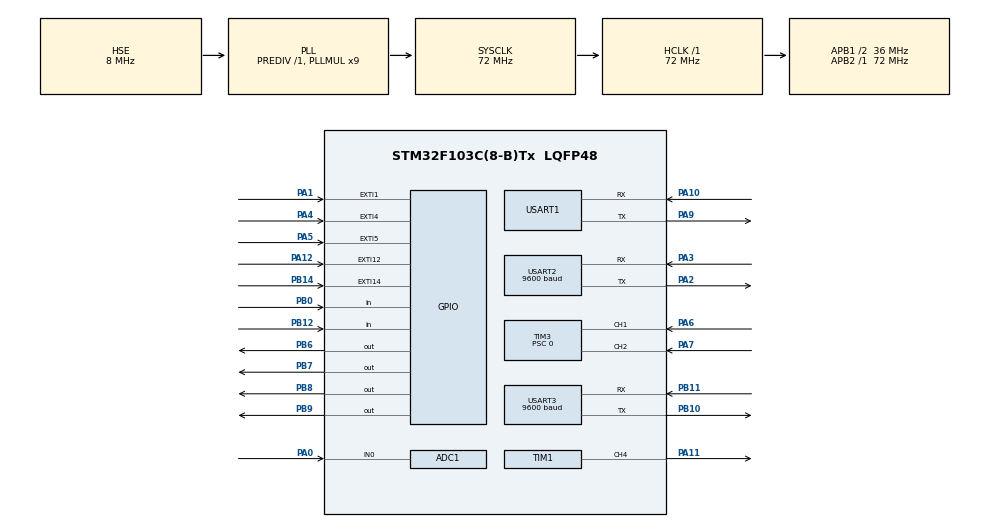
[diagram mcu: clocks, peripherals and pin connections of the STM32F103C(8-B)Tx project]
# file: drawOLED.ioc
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ADC1.Channel-0\#ChannelRegularConversion=ADC_CHANNEL_0
ADC1.NbrOfConversionFlag=1
ADC1.Rank-0\#ChannelRegularConversion=1
ADC1.SamplingTime-0\#ChannelRegularConversion=ADC_SAMPLETIME_1CYCLE_5
ADC1.master=1
FREERTOS.INCLUDE_xTaskAbortDelay=0
FREERTOS.INCLUDE_xTaskGetHandle=0
FREERTOS.Tasks01=OLED_Draw,-1,128,DrawPic,Default,NULL,Dynamic,NULL,NULL;KeyTask,-1,128,Key,Default,NULL,Dynamic,NULL,NULL;AOLED_Draw,-1,128,ADraw_Pic,Default,NULL,Dynamic,NULL,NULL;AKeyTask,-1,128,AKey,Default,NULL,Dynamic,NULL,NULL;JudgeWin,2,128,Judgewhowin,Default,NULL,Dynamic,NULL,NULL;BuzzerPlay,-3,128,Playmusic,Default,NULL,Dynamic,NULL,NULL;WakeUp,1,128,GetwakeupFlag,Default,NULL,Dynamic,NULL,NULL
FREERTOS.configTICK_RATE_HZ=1000
FREERTOS.configTOTAL_HEAP_SIZE=6240
Mcu.Family=STM32F1
Mcu.Name=STM32F103C(8-B)Tx
Mcu.Package=LQFP48
NVIC.EXTI15_10_IRQn=true\:5\:0\:false\:false\:true\:true\:true\:true\:true
NVIC.EXTI1_IRQn=true\:5\:0\:false\:false\:true\:true\:true\:true\:true
NVIC.EXTI4_IRQn=true\:5\:0\:false\:false\:true\:true\:true\:true\:true
NVIC.EXTI9_5_IRQn=true\:5\:0\:false\:false\:true\:true\:true\:true\:true
NVIC.PriorityGroup=NVIC_PRIORITYGROUP_4
NVIC.TIM4_IRQn=true\:15\:0\:false\:false\:true\:false\:false\:true\:true
NVIC.TimeBase=TIM4_IRQn
NVIC.TimeBaseIP=TIM4
PA0-WKUP.Signal=ADCx_IN0
PA1.GPIO_ModeDefaultEXTI=GPIO_MODE_IT_FALLING
PA1.GPIO_PuPd=GPIO_PULLUP
PA1.Signal=GPXTI1
PA10.Mode=Asynchronous
PA10.Signal=USART1_RX
PA11.Signal=S_TIM1_CH4
PA12.GPIO_ModeDefaultEXTI=GPIO_MODE_IT_FALLING
PA12.GPIO_PuPd=GPIO_PULLUP
PA12.Signal=GPXTI12
PA13.Mode=Serial_Wire
PA13.Signal=SYS_JTMS-SWDIO
PA14.Mode=Serial_Wire
PA14.Signal=SYS_JTCK-SWCLK
PA2.Mode=Asynchronous
PA2.Signal=USART2_TX
PA3.Mode=Asynchronous
PA3.Signal=USART2_RX
PA4.GPIO_ModeDefaultEXTI=GPIO_MODE_IT_FALLING
PA4.GPIO_PuPd=GPIO_PULLUP
PA4.Signal=GPXTI4
PA5.GPIO_ModeDefaultEXTI=GPIO_MODE_IT_FALLING
PA5.GPIO_PuPd=GPIO_PULLUP
PA5.Signal=GPXTI5
PA6.Signal=S_TIM3_CH1
PA7.Signal=S_TIM3_CH2
PA9.Mode=Asynchronous
PA9.Signal=USART1_TX
PB0.GPIO_PuPd=GPIO_PULLUP
PB0.Signal=GPIO_Input
PB10.Mode=Asynchronous
PB10.Signal=USART3_TX
PB11.Mode=Asynchronous
PB11.Signal=USART3_RX
PB12.GPIO_PuPd=GPIO_PULLDOWN
PB12.Signal=GPIO_Input
PB14.GPIO_ModeDefaultEXTI=GPIO_MODE_IT_FALLING
PB14.GPIO_PuPd=GPIO_PULLUP
PB14.Signal=GPXTI14
PB6.GPIO_ModeDefaultOutputPP=GPIO_MODE_OUTPUT_OD
PB6.GPIO_PuPd=GPIO_NOPULL
PB6.PinState=GPIO_PIN_SET
PB6.Signal=GPIO_Output
PB7.GPIO_ModeDefaultOutputPP=GPIO_MODE_OUTPUT_OD
PB7.GPIO_PuPd=GPIO_NOPULL
PB7.PinState=GPIO_PIN_SET
PB7.Signal=GPIO_Output
PB8.GPIO_ModeDefaultOutputPP=GPIO_MODE_OUTPUT_OD
PB8.GPIO_PuPd=GPIO_NOPULL
PB8.PinState=GPIO_PIN_SET
PB8.Signal=GPIO_Output
PB9.GPIO_ModeDefaultOutputPP=GPIO_MODE_OUTPUT_OD
PB9.GPIO_PuPd=GPIO_NOPULL
PB9.PinState=GPIO_PIN_SET
PB9.Signal=GPIO_Output
PD0-OSC_IN.Mode=HSE-External-Oscillator
PD0-OSC_IN.Signal=RCC_OSC_IN
PD1-OSC_OUT.Mode=HSE-External-Oscillator
PD1-OSC_OUT.Signal=RCC_OSC_OUT
ProjectManager.HeapSize=0x200
ProjectManager.StackSize=0x400
ProjectManager.TargetToolchain=MDK-ARM V5.32
RCC.ADCPresc=RCC_ADCPCLK2_DIV6
RCC.AHBFreq_Value=72000000
RCC.APB1CLKDivider=RCC_HCLK_DIV2
RCC.APB1Freq_Value=36000000
RCC.APB1TimFreq_Value=72000000
RCC.APB2Freq_Value=72000000
RCC.APB2TimFreq_Value=72000000
RCC.HCLKFreq_Value=72000000
RCC.PLLMUL=RCC_PLL_MUL9
RCC.PLLSourceVirtual=RCC_PLLSOURCE_HSE
RCC.SYSCLKFreq_VALUE=72000000
RCC.SYSCLKSource=RCC_SYSCLKSOURCE_PLLCLK
RCC.USBFreq_Value=72000000
SH.ADCx_IN0.0=ADC1_IN0,IN0
SH.S_TIM1_CH4.0=TIM1_CH4,PWM Generation4 CH4
SH.S_TIM3_CH1.0=TIM3_CH1,Encoder_Interface
SH.S_TIM3_CH2.0=TIM3_CH2,Encoder_Interface
TIM1.AutoReloadPreload=TIM_AUTORELOAD_PRELOAD_ENABLE
TIM1.Channel-PWM\ Generation4\ CH4=TIM_CHANNEL_4
TIM1.Period=999
TIM1.Prescaler=71
TIM3.EncoderMode=TIM_ENCODERMODE_TI12
TIM3.Period=65535
TIM3.Prescaler=0
USART1.VirtualMode=VM_ASYNC
USART2.BaudRate=9600
USART2.VirtualMode=VM_ASYNC
USART3.BaudRate=9600
USART3.VirtualMode=VM_ASYNC
VP_FREERTOS_VS_CMSIS_V1.Mode=CMSIS_V1
VP_SYS_VS_tim4.Mode=TIM4
board=custom

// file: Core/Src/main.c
/* USER CODE BEGIN Header */
/**
  ******************************************************************************
  * @file           : main.c
  * @brief          : Main program body
  ******************************************************************************
  * @attention
  *
  * Copyright (c) 2025 STMicroelectronics.
  * All rights reserved.
  *
  * This software is licensed under terms that can be found in the LICENSE file
  * in the root directory of this software component.
  * If no LICENSE file comes with this software, it is provided AS-IS.
  *
  ******************************************************************************
  */
/* USER CODE END Header */
#include "main.h"
#include "cmsis_os.h"
#include "adc.h"
#include "tim.h"
#include "usart.h"
#include "gpio.h"

/* USER CODE BEGIN Includes */
#include "OLED.h"
#include "AOLED.h"
#include "winrecord.h"
#include "OLED_Data.h"
#include "String.h"
/* USER CODE END Includes */

/* USER CODE BEGIN PV */
//uint8_t RX_Buffer[4] = {0};
uint32_t Nowwakeup_Time = 0;
uint32_t Lastwakeup_Time = 0;
uint8_t Player1[32] = {0};
uint8_t Player2[32] = {0};
uint8_t ChoseDoneFlag = 0;
uint8_t AChoseDoneFlag = 0;
uint8_t Tempbuffer[4] = {0};
uint8_t ATempbuffer[4] = {0};
/* USER CODE END PV */

void SystemClock_Config(void);
void MX_FREERTOS_Init(void);

int main(void)
{

  /* MCU Configuration--------------------------------------------------------*/

  /* Reset of all peripherals, Initializes the Flash interface and the Systick. */
  HAL_Init();

  /* Configure the system clock */
  SystemClock_Config();

  /* Initialize all configured peripherals */
  MX_GPIO_Init();
  MX_TIM1_Init();
  MX_USART1_UART_Init();
  MX_ADC1_Init();
  MX_USART3_UART_Init();
  MX_USART2_UART_Init();
  MX_TIM3_Init();
  /* USER CODE BEGIN 2 */
	HAL_NVIC_SetPriority(EXTI1_IRQn, 5, 0);
  HAL_NVIC_EnableIRQ(EXTI1_IRQn);
  HAL_NVIC_SetPriority(EXTI2_IRQn, 5, 0);
  HAL_NVIC_EnableIRQ(EXTI2_IRQn);
  HAL_NVIC_SetPriority(EXTI4_IRQn, 5, 0);
  HAL_NVIC_EnableIRQ(EXTI4_IRQn);
	HAL_NVIC_EnableIRQ(EXTI9_5_IRQn);
	HAL_NVIC_EnableIRQ(EXTI15_10_IRQn);

	OLED_Init();
	AOLED_Init();
	HAL_TIM_PWM_Start(&htim1,TIM_CHANNEL_4);
	HAL_TIM_Encoder_Start(&htim3, TIM_CHANNEL_ALL);
//	HAL_UART_IRQHandler(&huart3);
//	HAL_UART_Receive_IT(&huart3 , RX_Buffer , sizeof(RX_Buffer));
	WinRecord currentRecord;
  LoadWinRecord(&currentRecord);
	if (currentRecord.player1Wins == 0xFFFF || currentRecord.player2Wins == 0xFFFF) {
        currentRecord.player1Wins = 0;
				currentRecord.player2Wins = 0;
        SaveWinRecord(&currentRecord); // �״α���Ĭ��ֵ
    }
	while(!ChoseDoneFlag)
	{
		OLED_Printf(10, 20, OLED_6X8, "P1 choose roles");
		AOLED_Printf(10, 20, AOLED_6X8, "P1 choose roles");
		OLED_Update();
		AOLED_Update();
		HAL_UART_Receive(&huart3 , Tempbuffer, sizeof(Tempbuffer), HAL_MAX_DELAY);
		if(Tempbuffer[0] == 0x20 && Tempbuffer[3] == 0x61 )
		{
			if(Tempbuffer[1] == 0x01 && Tempbuffer[2] == 0x02)
			{
				memcpy(Player1, people1, 32);
				ChoseDoneFlag = 1;
				HAL_UART_Transmit(&huart3, Tempbuffer, sizeof(Tempbuffer), 100);
			}
			else if(Tempbuffer[1] == 0x01 && Tempbuffer[2] == 0x03)
			{
				memcpy(Player1, people2, 32);
				ChoseDoneFlag = 1;
				HAL_UART_Transmit(&huart3, Tempbuffer, sizeof(Tempbuffer), 100);
			}

		}
	}
	while(!AChoseDoneFlag)
	{
		OLED_Printf(10, 20, OLED_6X8, "P2 choose roles");
		AOLED_Printf(10, 20, AOLED_6X8, "P2 to choose roles");
		OLED_Update();
		AOLED_Update();
		HAL_UART_Receive(&huart2 , ATempbuffer, sizeof(ATempbuffer), HAL_MAX_DELAY);
		if(ATempbuffer[0] == 0x20 && ATempbuffer[3] == 0x61 )
		{
			if(ATempbuffer[1] == 0x02 && ATempbuffer[2] == 0x02)
			{
				memcpy(Player2, people1, 32);
				AChoseDoneFlag = 1;
				HAL_UART_Transmit(&huart2, ATempbuffer, sizeof(ATempbuffer), 100);
			}
			else if(ATempbuffer[1] == 0x02 && ATempbuffer[2] == 0x03)
			{
				memcpy(Player2, people2, 32);
				AChoseDoneFlag = 1;
				HAL_UART_Transmit(&huart2, Tempbuffer, sizeof(Tempbuffer), 100);
			}

		}
	}
	OLED_Clear();
	AOLED_Clear();
	OLED_Printf(44, 20, OLED_6X8, "Welcome");
	OLED_Printf(2, 40, OLED_6X8, "Press Button to start");
	OLED_Printf(46, 56, OLED_6X8, " %d : %d",(int)currentRecord.player1Wins,(int)currentRecord.player2Wins);
	OLED_Update();
	AOLED_Printf(44, 20, AOLED_6X8, "Welcome");
	AOLED_Printf(2, 40, AOLED_6X8, "Press Button to start");
	AOLED_Printf(46, 56, AOLED_6X8, " %d : %d",(int)currentRecord.player1Wins,(int)currentRecord.player2Wins);
	AOLED_Update();
	while(HAL_GPIO_ReadPin(GPIOB,GPIO_PIN_12) == RESET){}
  /* USER CODE END 2 */

  /* Call init function for freertos objects (in cmsis_os2.c) */
  MX_FREERTOS_Init();

  /* Start scheduler */
  osKernelStart();

  /* We should never get here as control is now taken by the scheduler */

  /* Infinite loop */
  while (1)
  {

  }
}

void SystemClock_Config(void)
{
  RCC_OscInitTypeDef RCC_OscInitStruct = {0};
  RCC_ClkInitTypeDef RCC_ClkInitStruct = {0};
  RCC_PeriphCLKInitTypeDef PeriphClkInit = {0};

  /** Initializes the RCC Oscillators according to the specified parameters
  * in the RCC_OscInitTypeDef structure.
  */
  RCC_OscInitStruct.OscillatorType = RCC_OSCILLATORTYPE_HSE;
  RCC_OscInitStruct.HSEState = RCC_HSE_ON;
  RCC_OscInitStruct.HSEPredivValue = RCC_HSE_PREDIV_DIV1;
  RCC_OscInitStruct.HSIState = RCC_HSI_ON;
  RCC_OscInitStruct.PLL.PLLState = RCC_PLL_ON;
  RCC_OscInitStruct.PLL.PLLSource = RCC_PLLSOURCE_HSE;
  RCC_OscInitStruct.PLL.PLLMUL = RCC_PLL_MUL9;
  if (HAL_RCC_OscConfig(&RCC_OscInitStruct) != HAL_OK)
  {
    Error_Handler();
  }

  /** Initializes the CPU, AHB and APB buses clocks
  */
  RCC_ClkInitStruct.ClockType = RCC_CLOCKTYPE_HCLK|RCC_CLOCKTYPE_SYSCLK
                              |RCC_CLOCKTYPE_PCLK1|RCC_CLOCKTYPE_PCLK2;
  RCC_ClkInitStruct.SYSCLKSource = RCC_SYSCLKSOURCE_PLLCLK;
  RCC_ClkInitStruct.AHBCLKDivider = RCC_SYSCLK_DIV1;
  RCC_ClkInitStruct.APB1CLKDivider = RCC_HCLK_DIV2;
  RCC_ClkInitStruct.APB2CLKDivider = RCC_HCLK_DIV1;

  if (HAL_RCC_ClockConfig(&RCC_ClkInitStruct, FLASH_LATENCY_2) != HAL_OK)
  {
    Error_Handler();
  }
  PeriphClkInit.PeriphClockSelection = RCC_PERIPHCLK_ADC;
  PeriphClkInit.AdcClockSelection = RCC_ADCPCLK2_DIV6;
  if (HAL_RCCEx_PeriphCLKConfig(&PeriphClkInit) != HAL_OK)
  {
    Error_Handler();
  }
}

void HAL_TIM_PeriodElapsedCallback(TIM_HandleTypeDef *htim)
{
  if (htim->Instance == TIM4) {
    HAL_IncTick();
  }
}

void Error_Handler(void)
{
  __disable_irq();
  while (1)
  {
  }
}

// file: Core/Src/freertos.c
/* USER CODE BEGIN Header */
/**
  ******************************************************************************
  * File Name          : freertos.c
  * Description        : Code for freertos applications
  ******************************************************************************
  * @attention
  *
  * Copyright (c) 2025 STMicroelectronics.
  * All rights reserved.
  *
  * This software is licensed under terms that can be found in the LICENSE file
  * in the root directory of this software component.
  * If no LICENSE file comes with this software, it is provided AS-IS.
  *
  ******************************************************************************
  */
/* USER CODE END Header */

#include "FreeRTOS.h"
#include "task.h"
#include "main.h"
#include "cmsis_os.h"

/* USER CODE BEGIN Includes */
#include "AOLED.h"
#include "OLED.h"
#include "Information.h"
#include <stdint.h>
#include <string.h>
#include "winrecord.h"
#include "usart.h"
#include "wifi.h"
#include "adc.h"
#include "tim.h"
/* USER CODE END Includes */

/* USER CODE BEGIN Variables */
extern TIM_HandleTypeDef htim1;
extern UART_HandleTypeDef huart1;
typedef struct {
    uint8_t keyID;           // 按键ID
    uint32_t timestamp;      // 时间戳（用于消抖）
} KeyEvent_t;
QueueHandle_t AKeyQueue = NULL;
QueueHandle_t KeyQueue = NULL;
int8_t people1X = 0;
int8_t people1Y = 46;
int8_t people2X = 0;
int8_t people2Y = 46;
uint8_t temp = 0;
uint8_t Atemp = 0;
SemaphoreHandle_t P1Mutex = NULL;
SemaphoreHandle_t P2Mutex = NULL;
int HP = 3;
int AHP = 3;
extern Information platforms1[];
extern Information platforms2[];
extern Information platforms3[];
extern Information platforms4[];
extern Information platforms5[];
extern Information thorns1[];
extern Information thorns4[];
extern Information thorns5[];
uint8_t gameover = 0;
uint8_t Agameover = 0;
uint32_t lasttick = 0;
uint32_t nowtick = 0;
uint32_t Alasttick = 0;
uint32_t Anowtick = 0;
uint8_t State = 0; //关卡检测
static uint8_t Aflag = 0;
static uint8_t flag = 0;
Information moveplatform = {5,25,16,16};
Information Amoveplatform = {5,25,16,16};
int winround = 0;
int Awinround = 0;
uint8_t Whowin = 0;
uint8_t wakeup_flag = 1;
extern uint32_t Nowwakeup_Time;
extern uint32_t Lastwakeup_Time;
uint8_t RX_Buffer[4] = {0};
uint8_t ARX_Buffer[4] = {0};
extern uint8_t Player1[32];
extern uint8_t Player2[32];
/* USER CODE END Variables */
osThreadId OLED_DrawHandle;
osThreadId KeyTaskHandle;
osThreadId AOLED_DrawHandle;
osThreadId AKeyTaskHandle;
osThreadId JudgeWinHandle;
osThreadId BuzzerPlayHandle;
osThreadId WakeUpHandle;

/* USER CODE BEGIN FunctionPrototypes */
uint8_t JudgePlace(uint8_t peopleX, uint8_t peopleY ,Information *platforms ,uint8_t platformCount);
uint8_t JudgeThorns(uint8_t peopleX, uint8_t peopleY);
uint8_t Judgethrough (uint8_t peopleX, uint8_t peopleY ,Information *platforms ,uint8_t platformCount);
void LoadWinRecord(WinRecord *record);
void SaveWinRecord(WinRecord *record);
/* USER CODE END FunctionPrototypes */

void DrawPic(void const * argument);
void Key(void const * argument);
void ADraw_Pic(void const * argument);
void AKey(void const * argument);
void Judgewhowin(void const * argument);
void Playmusic(void const * argument);
void GetwakeupFlag(void const * argument);

void MX_FREERTOS_Init(void); /* (MISRA C 2004 rule 8.1) */

/* GetIdleTaskMemory prototype (linked to static allocation support) */
void vApplicationGetIdleTaskMemory( StaticTask_t **ppxIdleTaskTCBBuffer, StackType_t **ppxIdleTaskStackBuffer, uint32_t *pulIdleTaskStackSize );

/* USER CODE BEGIN GET_IDLE_TASK_MEMORY */
static StaticTask_t xIdleTaskTCBBuffer;
static StackType_t xIdleStack[configMINIMAL_STACK_SIZE];

void vApplicationGetIdleTaskMemory( StaticTask_t **ppxIdleTaskTCBBuffer, StackType_t **ppxIdleTaskStackBuffer, uint32_t *pulIdleTaskStackSize )
{
  *ppxIdleTaskTCBBuffer = &xIdleTaskTCBBuffer;
  *ppxIdleTaskStackBuffer = &xIdleStack[0];
  *pulIdleTaskStackSize = configMINIMAL_STACK_SIZE;
  /* place for user code */
}
/* USER CODE END GET_IDLE_TASK_MEMORY */

void MX_FREERTOS_Init(void) {
  /* USER CODE BEGIN Init */
	lasttick = HAL_GetTick();
  /* USER CODE END Init */

  /* USER CODE BEGIN RTOS_QUEUES */
  /* add queues, ... */

	//xSemaphoreGive(P1YBinary);
	P1Mutex = xSemaphoreCreateMutex();
	KeyQueue = xQueueCreate(4,sizeof(KeyEvent_t));
	AKeyQueue = xQueueCreate(4,sizeof(KeyEvent_t));
	P2Mutex = xSemaphoreCreateMutex();
  /* USER CODE END RTOS_QUEUES */

  /* Create the thread(s) */
  /* definition and creation of OLED_Draw */
  osThreadDef(OLED_Draw, DrawPic, osPriorityBelowNormal, 0, 128);
  OLED_DrawHandle = osThreadCreate(osThread(OLED_Draw), NULL);

  /* definition and creation of KeyTask */
  osThreadDef(KeyTask, Key, osPriorityBelowNormal, 0, 128);
  KeyTaskHandle = osThreadCreate(osThread(KeyTask), NULL);

  /* definition and creation of AOLED_Draw */
  osThreadDef(AOLED_Draw, ADraw_Pic, osPriorityBelowNormal, 0, 128);
  AOLED_DrawHandle = osThreadCreate(osThread(AOLED_Draw), NULL);

  /* definition and creation of AKeyTask */
  osThreadDef(AKeyTask, AKey, osPriorityBelowNormal, 0, 128);
  AKeyTaskHandle = osThreadCreate(osThread(AKeyTask), NULL);

  /* definition and creation of JudgeWin */
  osThreadDef(JudgeWin, Judgewhowin, osPriorityHigh, 0, 128);
  JudgeWinHandle = osThreadCreate(osThread(JudgeWin), NULL);

  /* definition and creation of BuzzerPlay */
  osThreadDef(BuzzerPlay, Playmusic, osPriorityIdle, 0, 128);
  BuzzerPlayHandle = osThreadCreate(osThread(BuzzerPlay), NULL);

  /* definition and creation of WakeUp */
  osThreadDef(WakeUp, GetwakeupFlag, osPriorityAboveNormal, 0, 128);
  WakeUpHandle = osThreadCreate(osThread(WakeUp), NULL);

}

void DrawPic(void const * argument)
{
  /* USER CODE BEGIN DrawPic */

  /* Infinite loop */
  for(;;)
  {
//		if(wakeup_flag == 1)
//		{
//			 OLED_WriteCommand(0x81);
//     uint16_t i = LightSensor_GetValue()*255/4095;
//     OLED_WriteCommand(i);
//			if (xSemaphoreTake(P1Mutex, 100) == pdTRUE) {
//
//				if(State == 0)
//				{
//					OLED_Clear();
//				for (uint8_t i = 0; i < sizeof(platforms2)/sizeof(platforms2[0]); i++) {
//      Information p = platforms2[i];
//      OLED_ShowImage(p.x, p.y, p.width, p.height, platform);
//  }
//				OLED_ShowImage(124,34,4,16,Door);
//
//				OLED_ShowImage(people1X,people1Y,16,16,people1);
//				OLED_Printf(100,0,OLED_6X8,"HP:%d",HP);
//				OLED_Update();
//				xSemaphoreGive(P1Mutex);
//				}
//				else if(State == 1)
//				{
//					OLED_Clear();
//				for (uint8_t i = 0; i < sizeof(platforms3)/sizeof(platforms3[0]); i++) {
//      Information p = platforms3[i];
//      OLED_ShowImage(p.x, p.y, p.width, p.height, platform);
//  }
//				OLED_ShowImage(124,34,4,16,Door);
//
//				OLED_ShowImage(people1X,people1Y,16,16,people1);
//				OLED_Printf(100,0,OLED_6X8,"HP:%d",HP);
//				OLED_Update();
//				xSemaphoreGive(P1Mutex);
//				}
//				else if(State == 2)
//				{
//					OLED_Clear();
//				for (uint8_t i = 0; i < sizeof(platforms4)/sizeof(platforms4[0]); i++) {
//      Information p = platforms4[i];
//      OLED_ShowImage(p.x, p.y, p.width, p.height, platform);
//  }
//				OLED_ShowImage(124,34,4,16,Door);
//				OLED_ShowImage(80,43,4,2,thorn);
//				OLED_ShowImage(people1X,people1Y,16,16,people1);
//				OLED_Printf(100,0,OLED_6X8,"HP:%d",HP);
//				OLED_Update();
//				xSemaphoreGive(P1Mutex);
//				}
//				else if(State == 3)
//				{
//					OLED_Clear();
//				for (uint8_t i = 0; i < sizeof(platforms1)/sizeof(platforms1[0]); i++) {
//      Information p = platforms1[i];
//      OLED_ShowImage(p.x, p.y, p.width, p.height, platform);
//  }
//				OLED_ShowImage(124,34,4,16,Door);
//				OLED_ShowImage(18,62,4,2,thorn);
//				OLED_ShowImage(people1X,people1Y,16,16,people1);
//				OLED_Printf(100,0,OLED_6X8,"HP:%d",HP);
//				OLED_Update();
//				xSemaphoreGive(P1Mutex);
//				}
//				else if(State == 4)
//				{
//				 OLED_Clear();
//		for (uint8_t i = 0; i < sizeof(platforms5)/sizeof(platforms5[0]); i++) {
//      Information p = platforms5[i];
//      OLED_ShowImage(p.x, p.y, p.width, p.height, platform);
//
//  }
//		for (uint8_t i = 0; i < sizeof(thorns5)/sizeof(thorns5[0]); i++) {
//      Information p = thorns5[i];
//      OLED_ShowImage(p.x, p.y, p.width, p.height, thorn);
//
//  }
//			OLED_ShowImage(moveplatform.x, 25, 16, 16, platform);
//			if(moveplatform.x == 110)
//			{
//				flag = 1;
//			}
//			else if(moveplatform.x == 5)
//			{
//				flag = 0;
//			}
//			if(flag == 0)
//			{
//				moveplatform.x += 1;
//			}
//			else
//			{
//				moveplatform.x -= 1;
//			}
//				OLED_ShowImage(124,34,4,16,Door);
//				//OLED_ShowImage(18,62,4,2,thorn);
//				OLED_ShowImage(people1X,people1Y,16,16,people1);
//				OLED_Printf(100,0,OLED_6X8,"HP:%d",HP);
//				OLED_Update();
//				xSemaphoreGive(P1Mutex);
//				}
//			}
//			else
//			{
//				xSemaphoreGive(P1Mutex);
//			}
//		}
		if(wakeup_flag == 1)
		{
			 OLED_WriteCommand(0x81);
     uint16_t i = LightSensor_GetValue()*255/4095;
     OLED_WriteCommand(i);
			if (xSemaphoreTake(P1Mutex, 100) == pdTRUE) {

				if(State == 0)
				{
					OLED_Clear();
				for (uint8_t i = 0; i < sizeof(platforms2)/sizeof(platforms2[0]); i++) {
      Information p = platforms2[i];
      OLED_ShowImage(p.x, p.y, p.width, p.height, platform);
  }
				OLED_ShowImage(124,34,4,16,Door);

				OLED_ShowImage(people1X,people1Y,16,16,Player2);
				OLED_Printf(100,0,OLED_6X8,"HP:%d",HP);
				OLED_Update();
				xSemaphoreGive(P1Mutex);
				}
				else if(State == 1)
				{
					OLED_Clear();
				for (uint8_t i = 0; i < sizeof(platforms3)/sizeof(platforms3[0]); i++) {
      Information p = platforms3[i];
      OLED_ShowImage(p.x, p.y, p.width, p.height, platform);
  }
				OLED_ShowImage(124,34,4,16,Door);

				OLED_ShowImage(people1X,people1Y,16,16,Player2);
				OLED_Printf(100,0,OLED_6X8,"HP:%d",HP);
				OLED_Update();
				xSemaphoreGive(P1Mutex);
				}
				else if(State == 2)
				{
					OLED_Clear();
				for (uint8_t i = 0; i < sizeof(platforms4)/sizeof(platforms4[0]); i++) {
      Information p = platforms4[i];
      OLED_ShowImage(p.x, p.y, p.width, p.height, platform);
  }
				OLED_ShowImage(124,34,4,16,Door);
				OLED_ShowImage(80,43,4,2,thorn);
				OLED_ShowImage(people1X,people1Y,16,16,Player2);
				OLED_Printf(100,0,OLED_6X8,"HP:%d",HP);
				OLED_Update();
				xSemaphoreGive(P1Mutex);
				}
				else if(State == 3)
				{
					OLED_Clear();
				for (uint8_t i = 0; i < sizeof(platforms1)/sizeof(platforms1[0]); i++) {
      Information p = platforms1[i];
      OLED_ShowImage(p.x, p.y, p.width, p.height, platform);
  }
				OLED_ShowImage(124,34,4,16,Door);
				OLED_ShowImage(18,62,4,2,thorn);
				OLED_ShowImage(people1X,people1Y,16,16,Player2);
				OLED_Printf(100,0,OLED_6X8,"HP:%d",HP);
				OLED_Update();
				xSemaphoreGive(P1Mutex);
				}
				else if(State == 4)
				{
				 OLED_Clear();
		for (uint8_t i = 0; i < sizeof(platforms5)/sizeof(platforms5[0]); i++) {
      Information p = platforms5[i];
      OLED_ShowImage(p.x, p.y, p.width, p.height, platform);

  }
		for (uint8_t i = 0; i < sizeof(thorns5)/sizeof(thorns5[0]); i++) {
      Information p = thorns5[i];
      OLED_ShowImage(p.x, p.y, p.width, p.height, thorn);

  }
			OLED_ShowImage(moveplatform.x, 25, 16, 16, platform);
			if(moveplatform.x == 110)
			{
				flag = 1;
			}
			else if(moveplatform.x == 5)
			{
				flag = 0;
			}
			if(flag == 0)
			{
				moveplatform.x += 1;
			}
			else
			{
				moveplatform.x -= 1;
			}
				OLED_ShowImage(124,34,4,16,Door);
				//OLED_ShowImage(18,62,4,2,thorn);
				OLED_ShowImage(people1X,people1Y,16,16,Player2);
				OLED_Printf(100,0,OLED_6X8,"HP:%d",HP);
				OLED_Update();
				xSemaphoreGive(P1Mutex);
				}
			}
			else
			{
				xSemaphoreGive(P1Mutex);
			}
		}
    osDelay(1);
  }
  /* USER CODE END DrawPic */
}

void Key(void const * argument)
{
  /* USER CODE BEGIN Key */

  KeyEvent_t Keyevent;

  /* Infinite loop */
  for(;;)
  {
		Nowwakeup_Time = HAL_GetTick();
		if(xQueueReceive(KeyQueue, &Keyevent, pdMS_TO_TICKS(100)) == pdPASS)
	 {
			if(xSemaphoreTake(P1Mutex,pdMS_TO_TICKS(100)) == pdTRUE)
		{
      Lastwakeup_Time = Nowwakeup_Time;
//		  Nowwakeup_Time = HAL_GetTick();

				switch(Keyevent.keyID)
			{

				case 5:
					if(State == 0)
					{
						if(people1X <= 110 && Judgethrough(people1X,people1Y,platforms2,sizeof(platforms2)/sizeof(platforms2[0])) == 0)
					 {
						people1X +=5;
					 }
					}
					else if(State == 1)
					{
						if(people1X <= 110 && Judgethrough(people1X,people1Y,platforms3,sizeof(platforms3)/sizeof(platforms3[0])) == 0)
					 {
						people1X +=5;
					 }
					}
					else if(State == 2)
					{
						if(people1X <= 110 && Judgethrough(people1X,people1Y,platforms4,sizeof(platforms4)/sizeof(platforms4[0])) == 0)
					 {
						people1X +=5;
					 }
					}
					else if(State == 3)
					{
						if(people1X <= 110 && Judgethrough(people1X,people1Y,platforms1,sizeof(platforms1)/sizeof(platforms1[0])) == 0)
					 {
						people1X +=5;
					 }
					}
					else if(State == 4)
					{
						if(people1X <= 110 && Judgethrough(people1X,people1Y,platforms5,sizeof(platforms5)/sizeof(platforms5[0])) == 0)
					 {
						people1X +=5;
					 }
					}
					if(JudgeThorns(people1X,people1Y) == 1)
				{
					nowtick = HAL_GetTick();
					if(HP == 3)
					{
						HP--;
					}
					else
					{
						if(nowtick - lasttick >=1500 )
						{
							HP--;
							lasttick = nowtick;
						}

					}
				}
				if(HP == 0)
				{
					gameover = 1;

				}

					break;
				case 4:
					people1X -=5;

					break;

			}

		}
			xSemaphoreGive(P1Mutex);
		}

		 if(HAL_GPIO_ReadPin(GPIOB,GPIO_PIN_0) == RESET )
		 {

			 osDelay(50);
			 if(HAL_GPIO_ReadPin(GPIOB,GPIO_PIN_0) == RESET && temp <= 15)
			 {

				 Lastwakeup_Time = Nowwakeup_Time;
				  people1Y -= 5;
				  temp += 5;
			 }
		 }
		 else
		 {

			 if(State == 0)
			{
				if(people1Y < 48 && (JudgePlace(people1X,people1Y, platforms2 , sizeof(platforms2)/sizeof(platforms2[0])) == 0))
		    {

			  people1Y += 2;
		    }
			}
			  else if(State == 1)
			{
					if(people1Y < 48 && (JudgePlace(people1X,people1Y, platforms3 , sizeof(platforms3)/sizeof(platforms3[0])) == 0))
		    {

			  people1Y += 2;
		    }
			}
			else if(State == 2)
			{
					if(people1Y < 48 && (JudgePlace(people1X,people1Y, platforms4 , sizeof(platforms4)/sizeof(platforms4[0])) == 0))
		    {

			  people1Y += 2;
		    }
			}
			else if(State == 3)
			{
					if(people1Y < 48 && (JudgePlace(people1X,people1Y, platforms1 , sizeof(platforms1)/sizeof(platforms1[0])) == 0))
		    {

			  people1Y += 2;
		    }
			}
			else if(State == 4)
			{
					if(people1Y < 48 && (JudgePlace(people1X,people1Y, platforms5 , sizeof(platforms5)/sizeof(platforms5[0])) == 0))
		    {

			  people1Y += 2;
		    }
			}
		  temp = 0;
		 }

    osDelay(1);
  }
  /* USER CODE END Key */
}

void ADraw_Pic(void const * argument)
{
  /* USER CODE BEGIN ADraw_Pic */

  /* Infinite loop */
  for(;;)
  {

		if(wakeup_flag == 1)
		{

		AOLED_WriteCommand(0x81);
    uint16_t i = LightSensor_GetValue()*255/4095;
    AOLED_WriteCommand(i);

		if(xSemaphoreTake(P2Mutex , pdMS_TO_TICKS(100))== pdTRUE)
		{

			if(State == 0)
			{
			AOLED_Clear();
		for (uint8_t i = 0; i < sizeof(platforms2)/sizeof(platforms2[0]); i++) {
      Information p = platforms2[i];
      AOLED_ShowImage(p.x, p.y, p.width, p.height, platform);
  }

		AOLED_ShowImage(124,34,4,16,Door);
		//AOLED_ShowImage(80,42,4,2,thorn);
		AOLED_ShowImage(people2X,people2Y,16,16,Player1);
		AOLED_Printf(100,0,AOLED_6X8,"HP:%d",AHP);
		AOLED_Update();
		xSemaphoreGive(P2Mutex);
			}
			else if(State == 1)
			{

			AOLED_Clear();
		for (uint8_t i = 0; i < sizeof(platforms3)/sizeof(platforms3[0]); i++) {
      Information p = platforms3[i];
      AOLED_ShowImage(p.x, p.y, p.width, p.height, platform);
  }

		AOLED_ShowImage(124,34,4,16,Door);
		//AOLED_ShowImage(18,62,4,2,thorn);
		AOLED_ShowImage(people2X,people2Y,16,16,Player1);
		AOLED_Printf(100,0,AOLED_6X8,"HP:%d",AHP);
		AOLED_Update();
		xSemaphoreGive(P2Mutex);
			}
			else if(State == 2)
			{

			AOLED_Clear();
		for (uint8_t i = 0; i < sizeof(platforms4)/sizeof(platforms4[0]); i++) {
      Information p = platforms4[i];
      AOLED_ShowImage(p.x, p.y, p.width, p.height, platform);
  }

		AOLED_ShowImage(124,34,4,16,Door);
		AOLED_ShowImage(80,43,4,2,thorn);
		AOLED_ShowImage(people2X,people2Y,16,16,Player1);
		AOLED_Printf(100,0,AOLED_6X8,"HP:%d",AHP);
		AOLED_Update();
		xSemaphoreGive(P2Mutex);
			}
  		else if(State == 3)
			{

			AOLED_Clear();
		for (uint8_t i = 0; i < sizeof(platforms1)/sizeof(platforms1[0]); i++) {
      Information p = platforms1[i];
      AOLED_ShowImage(p.x, p.y, p.width, p.height, platform);
  }

		AOLED_ShowImage(124,34,4,16,Door);
		AOLED_ShowImage(18,62,4,2,thorn);
		AOLED_ShowImage(people2X,people2Y,16,16,Player1);
		AOLED_Printf(100,0,AOLED_6X8,"HP:%d",AHP);
		AOLED_Update();
		xSemaphoreGive(P2Mutex);
			}
			else if(State == 4)
			{

				AOLED_Clear();
		for (uint8_t i = 0; i < sizeof(platforms5)/sizeof(platforms5[0]); i++) {
      Information p = platforms5[i];
      AOLED_ShowImage(p.x, p.y, p.width, p.height, platform);

  }
		for (uint8_t i = 0; i < sizeof(thorns5)/sizeof(thorns5[0]); i++) {
      Information p = thorns5[i];
      AOLED_ShowImage(p.x, p.y, p.width, p.height, thorn);

  }
			AOLED_ShowImage(moveplatform.x, 25, 16, 16, platform);
			if(Amoveplatform.x == 110)
			{
				Aflag = 1;
			}
			else if(Amoveplatform.x == 5)
			{
				Aflag = 0;
			}
			if(Aflag == 0)
			{
				Amoveplatform.x += 1;
			}
			else
			{
				Amoveplatform.x -= 1;
			}

		AOLED_ShowImage(124,34,4,16,Door);
		//AOLED_ShowImage(80,38,4,2,thorn);
		AOLED_ShowImage(people2X,people2Y,16,16,Player1);
		AOLED_Printf(100,0,AOLED_6X8,"HP:%d",AHP);
		AOLED_Update();
		xSemaphoreGive(P2Mutex);
			}

	}
		else
		{
			xSemaphoreGive(P2Mutex);
		}

		}
    osDelay(1);
  }

  /* USER CODE END ADraw_Pic */
}

void AKey(void const * argument)
{
  /* USER CODE BEGIN AKey */
	KeyEvent_t AKeyevent;

  /* Infinite loop */
  for(;;)
  {
		Nowwakeup_Time = HAL_GetTick();
		if(xQueueReceive(AKeyQueue, &AKeyevent, pdMS_TO_TICKS(100)) == pdPASS)
	 {
			if(xSemaphoreTake(P2Mutex,pdMS_TO_TICKS(100)) == pdTRUE)
		{
       Lastwakeup_Time = Nowwakeup_Time;

				switch(AKeyevent.keyID)
			{

				case 2:
					if(State == 0)
					{
						if(people2X <= 110 && Judgethrough(people2X,people2Y,platforms2,sizeof(platforms2)/sizeof(platforms2[0])) == 0)
					 {
						people2X +=5;
					 }
					}
					else if(State == 1)
					{
						if(people2X <= 110 && Judgethrough(people2X,people2Y,platforms3,sizeof(platforms3)/sizeof(platforms3[0])) == 0)
					 {
						people2X +=5;
					 }
					}
					else if(State == 2)
					{
						if(people2X <= 110 && Judgethrough(people2X,people2Y,platforms4,sizeof(platforms4)/sizeof(platforms4[0])) == 0)
					 {
						people2X +=5;
					 }
					}
					else if(State == 3)
					{
						if(people2X <= 110 && Judgethrough(people2X,people2Y,platforms1,sizeof(platforms1)/sizeof(platforms1[0])) == 0)
					 {
						people2X +=5;
					 }
					}
					else if(State == 4)
					{
						if(people2X <= 110 && Judgethrough(people2X,people2Y,platforms5,sizeof(platforms5)/sizeof(platforms5[0])) == 0)
					 {
						people2X +=5;
					 }
					}
					if(JudgeThorns(people2X,people2Y) == 1)
				{
					Anowtick = HAL_GetTick();
					if(AHP == 3)
					{
						AHP--;
					}
					else
					{
						if(Anowtick - Alasttick >=1500 )
						{
							AHP--;
							Alasttick = Anowtick;
						}

					}
				}
				if(AHP == 0)
				{
					Agameover = 1;

				}

					break;
				case 3:
					people2X -=5;

					break;

			}

		}
			xSemaphoreGive(P2Mutex);
		}

		 if(HAL_GPIO_ReadPin(GPIOA,GPIO_PIN_1) == RESET )
		 {

			 osDelay(50);
			 if(HAL_GPIO_ReadPin(GPIOA,GPIO_PIN_1) == RESET && Atemp <= 15)
			 {

				 Lastwakeup_Time = Nowwakeup_Time;
				  people2Y -= 5;
				  Atemp += 5;
			 }
		 }
		 else
		 {

			if(State == 0)
			{
				if(people2Y < 48 && (JudgePlace(people2X,people2Y, platforms2 , sizeof(platforms2)/sizeof(platforms2[0])) == 0))
		    {

			  people2Y += 2;
		    }
			}
			  else if(State == 1)
			{
					if(people2Y < 48 && (JudgePlace(people2X,people2Y, platforms3 , sizeof(platforms3)/sizeof(platforms3[0])) == 0))
		    {

			  people2Y += 2;
		    }
			}
			 else if(State == 2)
			{
					if(people2Y < 48 && (JudgePlace(people2X,people2Y, platforms4 , sizeof(platforms4)/sizeof(platforms4[0])) == 0))
		    {

			  people2Y += 2;
		    }
			}
			 else if(State == 3)
			{
					if(people2Y < 48 && (JudgePlace(people2X,people2Y, platforms1 , sizeof(platforms1)/sizeof(platforms1[0])) == 0))
		    {

			  people2Y += 2;
		    }
			}
			 else if(State == 4)
			{
					if(people2Y < 48 && (JudgePlace(people2X,people2Y, platforms5 , sizeof(platforms5)/sizeof(platforms5[0])) == 0))
		    {

			  people2Y += 2;
		    }
			}
		  Atemp = 0;
		 }

    osDelay(1);
  }
  /* USER CODE END AKey */
}

void Judgewhowin(void const * argument)
{
  /* USER CODE BEGIN Judgewhowin */
//	uint8_t Whowin = 0;
	uint8_t finalflag = 0;
	uint8_t winflag = 0;

  /* Infinite loop */
  for(;;)
  {
		 if(State == 5)
		 {
			 finalflag = 1;
		 }

    if(finalflag == 0)
		{
			if(people1X + 14 > 124 && people1Y > 34)
	  {
		  Whowin = 1;
			HP = 3;
			AHP = 3;
			if(Whowin == 1 && winflag == 0)
			{
				winround++;
				winflag = 1;
			}
	  }
		else if(people2X + 14 > 124 && people2Y > 34)
	  {
		 Whowin = 2;
			HP = 3;
			AHP = 3;
			if(Whowin == 2 && winflag == 0)
			{
				Awinround++;
				winflag = 1;
			}
	  }

		if(gameover)
		{
			Whowin = 2;
			HP = 3;
			AHP = 3;
			gameover = 0;
			Awinround ++;
		}
		else if(Agameover)
		{
			Whowin = 1;
			HP = 3;
			AHP = 3;
			Agameover = 0;
			winround ++;
		}

		if(Whowin == 1)
		{

			OLED_Clear();
			if(State == 0)
			{
				OLED_Printf(44, 20, OLED_6X8, "R1 P1WIN!");

			  OLED_Update();
			}
			else if(State == 1)
			{
				OLED_Printf(44, 20, OLED_6X8, "R2 P1WIN!");

			  OLED_Update();
			}
			else if(State == 2)
			{
				OLED_Printf(44, 20, OLED_6X8, "R3 P1WIN!");

			  OLED_Update();
			}
			else if(State == 3)
			{
				OLED_Printf(44, 20, OLED_6X8, "R4 P1WIN!");

			  OLED_Update();
			}
			else if(State == 4)
			{
				OLED_Printf(44, 20, OLED_6X8, "R5 P1WIN!");

			  OLED_Update();
			}

			AOLED_Clear();
			if(State == 0)
			{
				AOLED_Printf(44, 20, AOLED_6X8, "R1 P1WIN!");

			  AOLED_Update();
			}
			else if(State == 1)
			{
				AOLED_Printf(44, 20, AOLED_6X8, "R2 P1WIN!");

			  AOLED_Update();
			}
			else if(State == 2)
			{
				AOLED_Printf(44, 20, AOLED_6X8, "R3 P1WIN!");

			  AOLED_Update();
			}
			else if(State == 3)
			{
				AOLED_Printf(44, 20, AOLED_6X8, "R4 P1WIN!");

			  AOLED_Update();
			}
			else if(State == 4)
			{
				AOLED_Printf(44, 20, AOLED_6X8, "R5 P1WIN!");

			  AOLED_Update();
			}

		}
		else if(Whowin == 2)
		{

			OLED_Clear();
			if(State == 0)
			{
				OLED_Printf(44, 20, OLED_6X8, "R1 P2WIN!");

			  OLED_Update();
			}
			else if(State == 1)
			{
				OLED_Printf(44, 20, OLED_6X8, "R2 P2WIN!");

			  OLED_Update();
			}
			else if(State == 2)
			{
				OLED_Printf(44, 20, OLED_6X8, "R3 P2WIN!");

			  OLED_Update();
			}
			else if(State == 3)
			{
				OLED_Printf(44, 20, OLED_6X8, "R4 P2WIN!");

			  OLED_Update();
			}
			else if(State == 4)
			{
				OLED_Printf(44, 20, OLED_6X8, "R5 P2WIN!");

			  OLED_Update();
			}

			AOLED_Clear();
			if(State == 0)
			{
				AOLED_Printf(44, 20, AOLED_6X8, "R1 P2WIN!");

			  AOLED_Update();
			}
			else if(State == 1)
			{
				AOLED_Printf(44, 20, AOLED_6X8, "R2 P2WIN!");

			  AOLED_Update();
			}
			else if(State == 2)
			{
				AOLED_Printf(44, 20, AOLED_6X8, "R3 P2WIN!");

			  AOLED_Update();
			}
			else if(State == 3)
			{
				AOLED_Printf(44, 20, AOLED_6X8, "R4 P2WIN!");

			  AOLED_Update();
			}
			else if(State == 4)
			{
				AOLED_Printf(44, 20, AOLED_6X8, "R5 P2WIN!");

			  AOLED_Update();
			}

		}
		}
		if(State == 5)
		{
			AOLED_Clear();
			AOLED_Printf(46, 20, AOLED_6X8, "GameOver");
			AOLED_Printf(46, 40, AOLED_6X8, " %d : %d",winround,Awinround);
			AOLED_Update();

			OLED_Clear();
			OLED_Printf(46, 20, OLED_6X8, "GameOver");
			OLED_Printf(46, 40, OLED_6X8, " %d : %d",winround,Awinround);
			OLED_Update();
			if(winround > Awinround)
			{
				WinRecord record;
				LoadWinRecord(&record);

				State ++;
				record.player1Wins ++;
			  Wifi_SendData(record.player1Wins , record.player2Wins);

				SaveWinRecord(&record);
			}
			else if(winround < Awinround )
			{
				WinRecord record;
				LoadWinRecord(&record);

				State ++;
				record.player2Wins ++;
				Wifi_SendData(record.player1Wins , record.player2Wins);
				SaveWinRecord(&record);
			}

		}
		if(Whowin == 1 || Whowin == 2)
		{

			  HAL_Delay(1500);
				State ++;
			  Whowin = 0;
				winflag = 0;
				people1X = 0;
				people1Y = 46;
				people2X = 0;
				people2Y = 46;

		}

    osDelay(1);
  }
  /* USER CODE END Judgewhowin */
}

void Playmusic(void const * argument)
{
  /* USER CODE BEGIN Playmusic */
	 uint16_t temp = 0;
  /* Infinite loop */
  for(;;)
  {
		if(temp > 100)
		{
			temp = 100;
		}
		__HAL_TIM_SET_COMPARE(&htim1,TIM_CHANNEL_4,temp);
    temp += Encoder_Get();
		Buzzer_SetFrequency(200);
    osDelay(50);
    Buzzer_SetFrequency(400);
    osDelay(50);
    Buzzer_SetFrequency(600);
    osDelay(50);
    osDelay(1);
  }
  /* USER CODE END Playmusic */
}

void GetwakeupFlag(void const * argument)
{
  /* USER CODE BEGIN GetwakeupFlag */

  /* Infinite loop */
  for(;;)
  {
		if(Nowwakeup_Time - Lastwakeup_Time > 10000)
		{
			wakeup_flag = 0;
			OLED_Clear();
			OLED_Update();
			AOLED_Clear();
			AOLED_Update();
		}
		if(wakeup_flag == 0)
		{
			HAL_UART_Receive(&huart3,RX_Buffer,sizeof(RX_Buffer),100);
			if(RX_Buffer[0] == 0x20 && RX_Buffer[3] == 0x61)
				{
					if(RX_Buffer[1] == 0x01 && RX_Buffer[2] == 0x01)
					{
						wakeup_flag = 1;
						Lastwakeup_Time = Nowwakeup_Time;
						memset(RX_Buffer, 0, sizeof(RX_Buffer));
					}
				}

		}
	if(wakeup_flag == 0)
	{
		HAL_UART_Receive(&huart2,ARX_Buffer,sizeof(ARX_Buffer),100);
		if(ARX_Buffer[0] == 0x20 && ARX_Buffer[3] == 0x61)
			{
				if(ARX_Buffer[1] == 0x02 && ARX_Buffer[2] == 0x01)
				{
					wakeup_flag = 1;
					Lastwakeup_Time = Nowwakeup_Time;
					memset(ARX_Buffer, 0, sizeof(ARX_Buffer));
				}
			}

	}
    osDelay(1);
  }
  /* USER CODE END GetwakeupFlag */
}

/* USER CODE BEGIN Application */
uint8_t JudgePlace(uint8_t peopleX, uint8_t peopleY ,Information *platforms ,uint8_t platformCount)
{
		const uint8_t peopleFeetY = peopleY + 9; // 人物底部Y坐标
    const uint8_t peopleLeft = peopleX + 1;
    const uint8_t peopleRight = peopleX + 8;
		if(State == 4)
		{
				if (peopleFeetY <= moveplatform.y  && peopleFeetY >= moveplatform.y - 1 ){
            if ((peopleRight > moveplatform.x) && (peopleLeft < moveplatform.x + moveplatform.width)) {
                return 1;
            }
					}
		}
    for (uint8_t i = 0; i < platformCount; i++) {
        Information p = platforms[i];
			if (peopleFeetY <= p.y  && peopleFeetY >= p.y - 1 ){
            if ((peopleRight > p.x) && (peopleLeft < p.x + p.width)) {
                return 1;
            }
        }

    }
    return 0;
}

uint8_t JudgeThorns(uint8_t peopleX, uint8_t peopleY)
{
		const uint8_t peopleFeetY = peopleY + 9; // 人物底部Y坐标
    const uint8_t peopleLeft = peopleX;
    const uint8_t peopleRight = peopleX + 16;
		if(State == 0)
		{
			return 0;
//			for (uint8_t i = 0; i < sizeof(thorns5)/sizeof(thorns5[0]); i++) {
//        Information p = thorns5[i];
//			if (peopleFeetY < p.y - 3 && peopleY > 42){
//            if ((peopleRight > p.x) && (peopleLeft < p.x )) {
//                return 1;
//            }
//        }
//     }
		}
		else if(State == 1)
		{
			return 0;
		}
		else if(State == 2)
		{
			for (uint8_t i = 0; i < thornCount; i++) {
        Information p = thorns4[i];
			if (peopleFeetY < p.y - 3 && peopleY > 25){
            if ((peopleRight > p.x) && (peopleLeft < p.x )) {
                return 1;
            }
        }
     }
		}
		else if(State == 3)
		{
			for (uint8_t i = 0; i < thornCount; i++) {
        Information p = thorns1[i];
			if (peopleFeetY < p.y - 3  && peopleY > 42){
            if ((peopleRight > p.x) && (peopleLeft < p.x )) {
                return 1;
            }
        }
     }
		}
		else if(State == 4)
		{
			for (uint8_t i = 0; i < sizeof(thorns5)/sizeof(thorns5[0]); i++) {
        Information p = thorns5[i];
			if (peopleFeetY < p.y - 3  && peopleY > 33){
            if ((peopleRight > p.x) && (peopleLeft < p.x )) {
                return 1;
            }
        }
     }
		}
    return 0;

}
uint8_t Judgethrough (uint8_t peopleX, uint8_t peopleY ,Information *platforms ,uint8_t platformCount)
{
	const uint8_t peopleFeetY = peopleY + 6;
	const uint8_t peoplehead = peopleY + 1 ;
	 const uint8_t peopleRight = peopleX + 16;
	 for (uint8_t i = 0; i < platformCount; i++) {
        Information p = platforms1[i];
				if(p.y + 8 > peoplehead && peopleFeetY > p.y + 8)
				{
					if(peopleRight > p.x)
					{
						return 1;
					}
				}
	 }
	 return 0;
}

void HAL_GPIO_EXTI_Callback(uint16_t GPIO_Pin) {
	static uint32_t lasttime = 0;
	uint32_t currenttime = HAL_GetTick();
	if((currenttime - lasttime) < 50)
	{
		return;
	}
	lasttime = currenttime;
	BaseType_t xHigherPriorityTaskWoken = pdFALSE;
	KeyEvent_t event;
    switch(GPIO_Pin) {
        case GPIO_PIN_14:  // 人物1左移
            event.keyID = 4;
            xQueueSendFromISR(KeyQueue, &event, &xHigherPriorityTaskWoken);
            break;
        case GPIO_PIN_12:   // 人物1右移
            event.keyID = 5;
            xQueueSendFromISR(KeyQueue, &event, &xHigherPriorityTaskWoken);
            break;
        case GPIO_PIN_5:   // 人物2右移
            event.keyID = 2;
            xQueueSendFromISR(AKeyQueue, &event, &xHigherPriorityTaskWoken);
            break;
        case GPIO_PIN_4:   // 人物2左移
            event.keyID = 3;
            xQueueSendFromISR(AKeyQueue, &event, &xHigherPriorityTaskWoken);
            break;
        default:
            return;
    }

	event.timestamp = xTaskGetTickCountFromISR();
	//xQueueSendFromISR(AKeyQueue, &event , &xHigherPriorityTaskWoken);

	portYIELD_FROM_ISR(xHigherPriorityTaskWoken);
}
void LoadWinRecord(WinRecord *record) {
    // 直接读取Flash地址的数据
    WinRecord *flashData = (WinRecord*)FLASH_SAVE_ADDR;
    memcpy(record, flashData, sizeof(WinRecord));
}
void SaveWinRecord(WinRecord *record) {
    // 擦除Flash页（必需）
    FLASH_EraseInitTypeDef eraseConfig;
    uint32_t pageError;
    eraseConfig.TypeErase = FLASH_TYPEERASE_PAGES;
    eraseConfig.PageAddress = FLASH_SAVE_ADDR;
    eraseConfig.NbPages = 1;

    HAL_FLASH_Unlock();
    HAL_FLASHEx_Erase(&eraseConfig, &pageError); // 擦除整个页

    // 按半字（16位）写入数据
    uint16_t *pData = (uint16_t*)record;
    for (uint16_t i = 0; i < sizeof(WinRecord); i += 2) {  // 共写入2次
        HAL_FLASH_Program(FLASH_TYPEPROGRAM_HALFWORD,
                         FLASH_SAVE_ADDR + i,
                         pData[i/2]);
    }

    HAL_FLASH_Lock();
}

/* USER CODE END Application */
